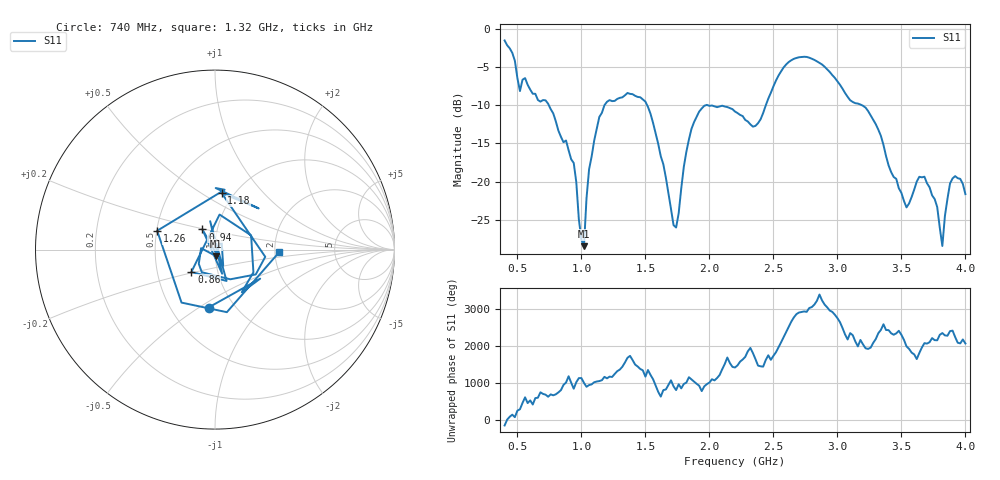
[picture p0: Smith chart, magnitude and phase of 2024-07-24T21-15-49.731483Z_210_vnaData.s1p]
!Created with skrf (http://scikit-rf.org).
# Hz S RI R 50.0
!freq ReS11 ImS11
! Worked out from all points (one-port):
!   181 points, 400 MHz to 4 GHz, reference 50 ohm
!   lowest |S11| = -28.5 dB at 1.02 GHz (marker M1), VSWR 1.08, Z = 50.5 - j3.74 ohm
!   |S11| at or under -10 dB: 1.515 GHz to 1.967 GHz (452.4 MHz wide, 26 % of centre); 1.992 GHz to 2.44 GHz (447.8 MHz wide, 20.2 % of centre); 3.195 GHz to end of sweep (the widest 3 of 4)
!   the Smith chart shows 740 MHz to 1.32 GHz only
!   S11 on the Smith chart (normalised r, x): 740 MHz: 0.76, -0.55; 860 MHz: 0.75, -0.19; 940 MHz: 0.85, +0.19; 1.18 GHz: 0.88, +0.61; 1.26 GHz: 0.50, +0.12; 1.32 GHz: 2.11, -0.07
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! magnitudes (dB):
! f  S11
! 400 MHz  -1.4
! 520 MHz  -8.1
! 560 MHz  -6.4
! 740 MHz  -9.8
! 860 MHz  -14.8
! 940 MHz  -17.6
! 1.02 GHz  -28.5
! 1.06 GHz  -18.4
! 1.18 GHz  -10.0
! 1.26 GHz  -9.4
! 1.3 GHz  -9.0
! 1.32 GHz  -8.9
! 1.52 GHz  -10.2
! 1.72 GHz  -25.7
! 1.76 GHz  -24.2
! 1.82 GHz  -16.1
! 1.92 GHz  -10.8
! 2.2 GHz  -10.8
! 2.36 GHz  -12.7
! 2.66 GHz  -3.9
! 3.1 GHz  -9.3
! 3.3 GHz  -12.5
! 3.56 GHz  -22.9
! 3.68 GHz  -19.4
! 3.78 GHz  -23.4
! 3.82 GHz  -28.5
! 3.88 GHz  -20.3
! 4 GHz  -21.7
